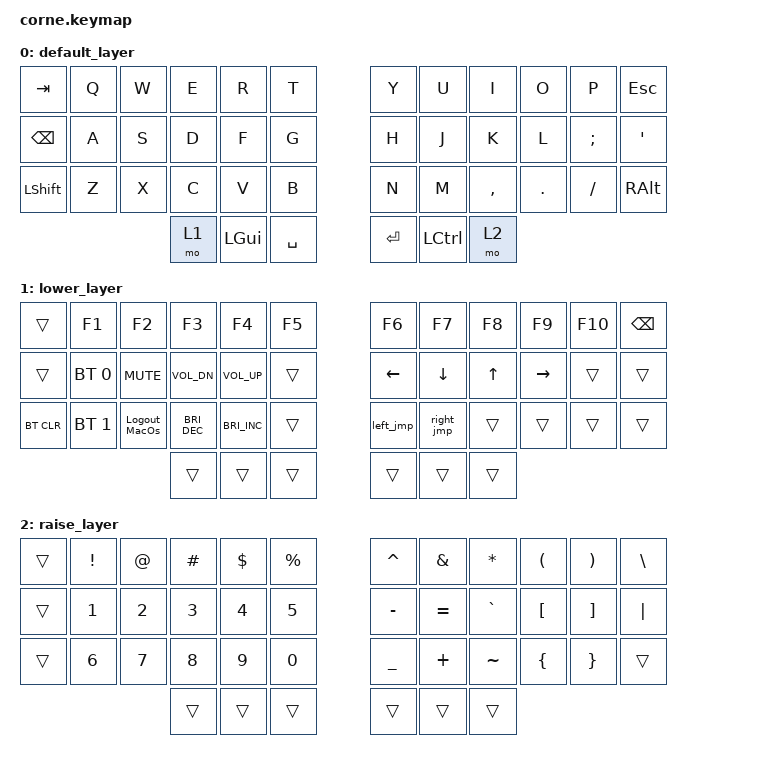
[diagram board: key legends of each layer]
/*
 * Copyright (c) 2020 The ZMK Contributors
 *
 * SPDX-License-Identifier: MIT
 */

#include <behaviors.dtsi>
#include <dt-bindings/zmk/bt.h>
#include <dt-bindings/zmk/keys.h>

/ {
    macros {
        Logout_MacOs: Logout_MacOs {
            compatible = "zmk,behavior-macro";
            #binding-cells = <0>;
            bindings = <&kp LSHFT &kp LGUI &kp Q>;
            label = "LOGOUT_MACOS";
        };

        left_jmp: left_jmp {
            compatible = "zmk,behavior-macro";
            #binding-cells = <0>;
            bindings = <&kp RIGHT_ALT &kp LEFT_ARROW>;
            label = "LEFT_JMP";
        };

        right_jmp: right_jmp {
            compatible = "zmk,behavior-macro";
            #binding-cells = <0>;
            bindings = <&kp RIGHT_ALT &kp RIGHT_ARROW>;
            label = "RIGHT_JMP";
        };
    };

    keymap {
        compatible = "zmk,keymap";

        default_layer {
            // -----------------------------------------------------------------------------------------
            // |  TAB |  Q  |  W  |  E  |  R  |  T  |   |  Y  |  U   |  I  |  O  |  P  | BSPC |
            // | CTRL |  A  |  S  |  D  |  F  |  G  |   |  H  |  J   |  K  |  L  |  ;  |  '   |
            // | SHFT |  Z  |  X  |  C  |  V  |  B  |   |  N  |  M   |  ,  |  .  |  /  | ESC  |
            //                    | GUI | LWR | SPC |   | ENT | RSE  | ALT |

            bindings = <
&kp TAB        &kp Q  &kp W  &kp E  &kp R     &kp T        &kp Y    &kp U             &kp I      &kp O    &kp P     &kp ESCAPE
&kp BACKSPACE  &kp A  &kp S  &kp D  &kp F     &kp G        &kp H    &kp J             &kp K      &kp L    &kp SEMI  &kp SQT
&kp LSHFT      &kp Z  &kp X  &kp C  &kp V     &kp B        &kp N    &kp M             &kp COMMA  &kp DOT  &kp FSLH  &kp RALT
                             &mo 1  &kp LGUI  &kp SPACE    &kp RET  &kp LEFT_CONTROL  &mo 2
            >;
        };

        lower_layer {
            // -----------------------------------------------------------------------------------------
            // |  TAB |  1  |  2  |  3  |  4  |  5  |   |  6  |  7  |  8  |  9  |  0  | BSPC |
            // | BTCLR| BT1 | BT2 | BT3 | BT4 | BT5 |   | LFT | DWN |  UP | RGT |     |      |
            // | SHFT |     |     |     |     |     |   |     |     |     |     |     |      |
            //                    | GUI |     | SPC |   | ENT |     | ALT |

            bindings = <
&trans      &kp F1        &kp F2         &kp F3                &kp F4                &kp F5    &kp F6     &kp F7      &kp F8  &kp F9     &kp F10  &kp BSPC
&trans      &bt BT_SEL 0  &kp C_MUTE     &kp C_VOL_DN          &kp C_VOL_UP          &trans    &kp LEFT   &kp DOWN    &kp UP  &kp RIGHT  &trans   &trans
&bt BT_CLR  &bt BT_SEL 1  &Logout_MacOs  &kp C_BRIGHTNESS_DEC  &kp C_BRIGHTNESS_INC  &trans    &left_jmp  &right_jmp  &trans  &trans     &trans   &trans
                                         &trans                &trans                &trans    &trans     &trans      &trans
            >;
        };

        raise_layer {
            // -----------------------------------------------------------------------------------------
            // |  TAB |  !  |  @  |  #  |  $  |  %  |   |  ^  |  &  |  *  |  (  |  )  | BSPC |
            // | CTRL |     |     |     |     |     |   |  -  |  =  |  [  |  ]  |  \  |  `   |
            // | SHFT |     |     |     |     |     |   |  _  |  +  |  {  |  }  | "|" |  ~   |
            //                    | GUI |     | SPC |   | ENT |     | ALT |

            bindings = <
&trans  &kp EXCL      &kp AT        &kp HASH      &kp DLLR      &kp PRCNT    &kp CARET  &kp AMPS   &kp ASTRK  &kp LPAR          &kp RPAR           &kp BACKSLASH
&trans  &kp NUMBER_1  &kp NUMBER_2  &kp NUMBER_3  &kp NUMBER_4  &kp N5       &kp MINUS  &kp EQUAL  &kp GRAVE  &kp LEFT_BRACKET  &kp RIGHT_BRACKET  &kp PIPE
&trans  &kp NUMBER_6  &kp N7        &kp N8        &kp N9        &kp N0       &kp UNDER  &kp PLUS   &kp TILDE  &kp LEFT_BRACE    &kp RIGHT_BRACE    &trans
                                    &trans        &trans        &trans       &trans     &trans     &trans
            >;
        };
    };
};
